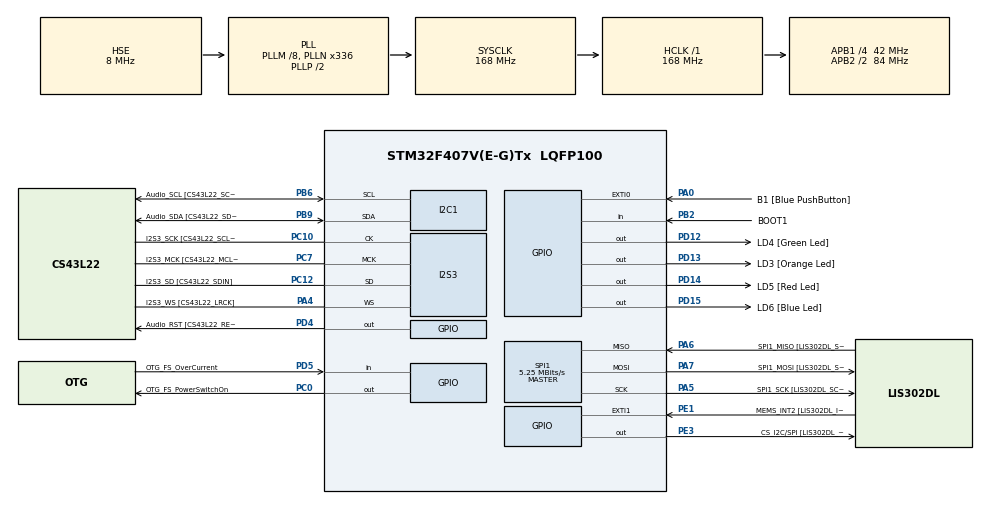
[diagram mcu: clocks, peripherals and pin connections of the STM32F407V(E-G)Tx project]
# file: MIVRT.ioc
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I2S3.AudioFreq-Half_Duplex_Master=I2S_AUDIOFREQ_96K
I2S3.ErrorAudioFreq=-2.34 %
I2S3.ErrorAudioFreq-Half_Duplex_Master=0.8 %
I2S3.FullDuplexMode=I2S_FULLDUPLEXMODE_DISABLE
I2S3.Instance=SPI$Index
I2S3.RealAudioFreq=93.75 KHz
I2S3.RealAudioFreq-Half_Duplex_Master=96.774 KHz
I2S3.VirtualMode=I2S_MODE_MASTER
Mcu.Family=STM32F4
Mcu.Name=STM32F407V(E-G)Tx
Mcu.Package=LQFP100
NVIC.PriorityGroup=NVIC_PRIORITYGROUP_0
PA0-WKUP.GPIO_Label=B1 [Blue PushButton]
PA0-WKUP.GPIO_ModeDefaultEXTI=GPIO_MODE_EVT_RISING
PA0-WKUP.GPIO_PuPd=GPIO_NOPULL
PA0-WKUP.Signal=GPXTI0
PA10.GPIO_Label=OTG_FS_ID
PA10.GPIO_Mode=GPIO_MODE_AF_PP
PA10.GPIO_PuPd=GPIO_NOPULL
PA10.GPIO_Speed=GPIO_SPEED_FREQ_LOW
PA10.Signal=USB_OTG_FS_ID
PA11.GPIO_Label=OTG_FS_DM
PA11.GPIO_Mode=GPIO_MODE_AF_PP
PA11.GPIO_PuPd=GPIO_NOPULL
PA11.GPIO_Speed=GPIO_SPEED_FREQ_LOW
PA11.Signal=USB_OTG_FS_DM
PA12.GPIO_Label=OTG_FS_DP
PA12.GPIO_Mode=GPIO_MODE_AF_PP
PA12.GPIO_PuPd=GPIO_NOPULL
PA12.GPIO_Speed=GPIO_SPEED_FREQ_LOW
PA12.Signal=USB_OTG_FS_DP
PA13.GPIO_Label=SWDIO
PA13.Mode=Serial_Wire
PA13.Signal=SYS_JTMS-SWDIO
PA14.GPIO_Label=SWCLK
PA14.Mode=Serial_Wire
PA14.Signal=SYS_JTCK-SWCLK
PA4.GPIO_Label=I2S3_WS [CS43L22_LRCK]
PA4.GPIO_Mode=GPIO_MODE_AF_PP
PA4.GPIO_PuPd=GPIO_NOPULL
PA4.GPIO_Speed=GPIO_SPEED_FREQ_LOW
PA4.Mode=Half_Duplex_Master
PA4.Signal=I2S3_WS
PA5.GPIO_Label=SPI1_SCK [LIS302DL_SCL/SPC]
PA5.GPIO_Mode=GPIO_MODE_AF_PP
PA5.GPIO_PuPd=GPIO_NOPULL
PA5.GPIO_Speed=GPIO_SPEED_FREQ_LOW
PA5.Mode=Full_Duplex_Master
PA5.Signal=SPI1_SCK
PA6.GPIO_Label=SPI1_MISO [LIS302DL_SDO]
PA6.GPIO_Mode=GPIO_MODE_AF_PP
PA6.GPIO_PuPd=GPIO_NOPULL
PA6.GPIO_Speed=GPIO_SPEED_FREQ_LOW
PA6.Mode=Full_Duplex_Master
PA6.Signal=SPI1_MISO
PA7.GPIO_Label=SPI1_MOSI [LIS302DL_SDA/SDI/SDO]
PA7.GPIO_Mode=GPIO_MODE_AF_PP
PA7.GPIO_PuPd=GPIO_NOPULL
PA7.GPIO_Speed=GPIO_SPEED_FREQ_LOW
PA7.Mode=Full_Duplex_Master
PA7.Signal=SPI1_MOSI
PA9.GPIO_Label=VBUS_FS
PA9.GPIO_Mode=GPIO_MODE_INPUT
PA9.GPIO_PuPd=GPIO_NOPULL
PA9.Signal=USB_OTG_FS_VBUS
PB10.GPIO_Label=CLK_IN [MP45DT02_CLK]
PB10.GPIO_Mode=GPIO_MODE_AF_PP
PB10.GPIO_PuPd=GPIO_NOPULL
PB10.GPIO_Speed=GPIO_SPEED_FREQ_LOW
PB10.Signal=I2S2_CK
PB2.GPIO_Label=BOOT1
PB2.GPIO_Mode=GPIO_MODE_INPUT
PB2.GPIO_PuPd=GPIO_NOPULL
PB2.Signal=GPIO_Input
PB3.GPIO_Label=SWO
PB3.Signal=SYS_JTDO-SWO
PB6.GPIO_Label=Audio_SCL [CS43L22_SCL]
PB6.GPIO_Mode=GPIO_MODE_AF_OD
PB6.GPIO_Pu=GPIO_PULLUP
PB6.GPIO_PuPd=GPIO_NOPULL
PB6.GPIO_Speed=GPIO_SPEED_FREQ_LOW
PB6.Mode=I2C
PB6.Signal=I2C1_SCL
PB9.GPIO_Label=Audio_SDA [CS43L22_SDA]
PB9.GPIO_Mode=GPIO_MODE_AF_OD
PB9.GPIO_Pu=GPIO_PULLUP
PB9.GPIO_PuPd=GPIO_NOPULL
PB9.GPIO_Speed=GPIO_SPEED_FREQ_LOW
PB9.Mode=I2C
PB9.Signal=I2C1_SDA
PC0.GPIO_Label=OTG_FS_PowerSwitchOn
PC0.GPIO_PuPd=GPIO_NOPULL
PC0.GPIO_Speed=GPIO_SPEED_FREQ_LOW
PC0.PinState=GPIO_PIN_SET
PC0.Signal=GPIO_Output
PC10.GPIO_Label=I2S3_SCK [CS43L22_SCLK]
PC10.GPIO_Mode=GPIO_MODE_AF_PP
PC10.GPIO_PuPd=GPIO_NOPULL
PC10.GPIO_Speed=GPIO_SPEED_FREQ_LOW
PC10.Mode=Half_Duplex_Master
PC10.Signal=I2S3_CK
PC12.GPIO_Label=I2S3_SD [CS43L22_SDIN]
PC12.GPIO_Mode=GPIO_MODE_AF_PP
PC12.GPIO_PuPd=GPIO_NOPULL
PC12.GPIO_Speed=GPIO_SPEED_FREQ_LOW
PC12.Mode=Half_Duplex_Master
PC12.Signal=I2S3_SD
PC14-OSC32_IN.GPIO_Label=PC14-OSC32_IN
PC14-OSC32_IN.Mode=LSE-External-Oscillator
PC14-OSC32_IN.Signal=RCC_OSC32_IN
PC15-OSC32_OUT.GPIO_Label=PC15-OSC32_OUT
PC15-OSC32_OUT.Mode=LSE-External-Oscillator
PC15-OSC32_OUT.Signal=RCC_OSC32_OUT
PC3.GPIO_Label=PDM_OUT [MP45DT02_DOUT]
PC3.GPIO_Mode=GPIO_MODE_AF_PP
PC3.GPIO_PuPd=GPIO_NOPULL
PC3.GPIO_Speed=GPIO_SPEED_FREQ_LOW
PC3.Signal=I2S2_SD
PC7.GPIO_Label=I2S3_MCK [CS43L22_MCLK]
PC7.GPIO_Mode=GPIO_MODE_AF_PP
PC7.GPIO_PuPd=GPIO_NOPULL
PC7.GPIO_Speed=GPIO_SPEED_FREQ_LOW
PC7.Mode=Master_Clock_Activated
PC7.Signal=I2S3_MCK
PD12.GPIO_Label=LD4 [Green Led]
PD12.GPIO_PuPd=GPIO_NOPULL
PD12.GPIO_Speed=GPIO_SPEED_FREQ_LOW
PD12.Signal=GPIO_Output
PD13.GPIO_Label=LD3 [Orange Led]
PD13.GPIO_PuPd=GPIO_NOPULL
PD13.GPIO_Speed=GPIO_SPEED_FREQ_LOW
PD13.Signal=GPIO_Output
PD14.GPIO_Label=LD5 [Red Led]
PD14.GPIO_PuPd=GPIO_NOPULL
PD14.GPIO_Speed=GPIO_SPEED_FREQ_LOW
PD14.Signal=GPIO_Output
PD15.GPIO_Label=LD6 [Blue Led]
PD15.GPIO_PuPd=GPIO_NOPULL
PD15.GPIO_Speed=GPIO_SPEED_FREQ_LOW
PD15.Signal=GPIO_Output
PD4.GPIO_Label=Audio_RST [CS43L22_RESET]
PD4.GPIO_PuPd=GPIO_NOPULL
PD4.GPIO_Speed=GPIO_SPEED_FREQ_LOW
PD4.Signal=GPIO_Output
PD5.GPIO_Label=OTG_FS_OverCurrent
PD5.GPIO_Mode=GPIO_MODE_INPUT
PD5.GPIO_PuPd=GPIO_NOPULL
PD5.Signal=GPIO_Input
PE1.GPIO_Label=MEMS_INT2 [LIS302DL_INT2]
PE1.GPIO_ModeDefaultEXTI=GPIO_MODE_EVT_RISING
PE1.GPIO_PuPd=GPIO_NOPULL
PE1.Signal=GPXTI1
PE3.GPIO_Label=CS_I2C/SPI [LIS302DL_CS_I2C/SPI]
PE3.GPIO_PuPd=GPIO_NOPULL
PE3.GPIO_Speed=GPIO_SPEED_FREQ_LOW
PE3.PinState=GPIO_PIN_SET
PE3.Signal=GPIO_Output
PH0-OSC_IN.GPIO_Label=PH0-OSC_IN
PH0-OSC_IN.Mode=HSE-External-Oscillator
PH0-OSC_IN.Signal=RCC_OSC_IN
PH1-OSC_OUT.GPIO_Label=PH1-OSC_OUT
PH1-OSC_OUT.Mode=HSE-External-Oscillator
PH1-OSC_OUT.Signal=RCC_OSC_OUT
ProjectManager.HeapSize=0x200
ProjectManager.StackSize=0x400
ProjectManager.TargetToolchain=STM32CubeIDE
RCC.48MHZClocksFreq_Value=48000000
RCC.AHBFreq_Value=168000000
RCC.APB1CLKDivider=RCC_HCLK_DIV4
RCC.APB1Freq_Value=42000000
RCC.APB1TimFreq_Value=84000000
RCC.APB2CLKDivider=RCC_HCLK_DIV2
RCC.APB2Freq_Value=84000000
RCC.APB2TimFreq_Value=168000000
RCC.CortexFreq_Value=168000000
RCC.HCLKFreq_Value=168000000
RCC.HSE_VALUE=8000000
RCC.HSI_VALUE=16000000
RCC.PLLM=8
RCC.PLLN=336
RCC.PLLQ=7
RCC.PLLSourceVirtual=RCC_PLLSOURCE_HSE
RCC.SYSCLKFreq_VALUE=168000000
RCC.SYSCLKSource=RCC_SYSCLKSOURCE_PLLCLK
RCC.VCOOutputFreq_Value=336000000
SPI1.BaudRatePrescaler=SPI_BAUDRATEPRESCALER_16
SPI1.BaudRatePrescaler-Full_Duplex_Master=SPI_BAUDRATEPRESCALER_2
SPI1.CLKPhase=SPI_PHASE_2EDGE
SPI1.CLKPolarity=SPI_POLARITY_HIGH
SPI1.CalculateBaudRate=5.25 MBits/s
SPI1.CalculateBaudRate-Full_Duplex_Master=42.0 MBits/s
SPI1.Direction=SPI_DIRECTION_2LINES
SPI1.Mode=SPI_MODE_MASTER
SPI1.Mode-Full_Duplex_Master=SPI_MODE_MASTER
SPI1.VirtualType=VM_MASTER
board=STM32F407G-DISC1

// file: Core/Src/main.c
/* USER CODE BEGIN Header */
/**
  ******************************************************************************
  * @file           : main.c
  * @brief          : Main program body
  ******************************************************************************
  * @attention
  *
  * Copyright (c) 2026 STMicroelectronics.
  * All rights reserved.
  *
  * This software is licensed under terms that can be found in the LICENSE file
  * in the root directory of this software component.
  * If no LICENSE file comes with this software, it is provided AS-IS.
  *
  ******************************************************************************
  */
/* USER CODE END Header */
#include "main.h"

/* USER CODE BEGIN PD */
#define LIS_READ 0x80
#define WHOAMI_REG 0x0F
#define WHOAMI_VAL 0x3F
#define LIS_READ    0x80
#define WHOAMI_REG  0x0F
#define CTRL_REG4   0x20
#define CTRL_REG5   0x24
#define CTRL_REG6   0x25
#define OUT_X_L     0x28

#define MARCO_MS     10
#define N_MARCOS     10
#define ACTIVIDAD_LARGA  1
/* USER CODE END PD */

I2C_HandleTypeDef hi2c1;

I2S_HandleTypeDef hi2s3;

SPI_HandleTypeDef hspi1;

/* USER CODE BEGIN PV */
volatile uint8_t who = 0;
volatile uint8_t r4 = 0;
volatile uint8_t r5 = 0;
volatile uint8_t r6 = 0;
volatile uint8_t init_err = 1;
volatile uint8_t raw[6];
volatile int16_t ax, ay, az;

volatile uint32_t overruns = 0;           // veces que un tic llegó tarde
volatile float ax_mg, ay_mg, az_mg;       // ejes en mg
volatile uint32_t periodo_us;             // tiempo real entre dos tics (
volatile uint32_t periodo_max_us = 0;     // el más largo
volatile uint32_t periodo_min_us = 999999;// el más corto
volatile uint32_t C_sensor_us;            // lo que tarda leer el sensor
volatile uint32_t C_conv_us;              // lo que tarda convertir a mg
volatile uint32_t C_led_us;               // lo que tarda el LED
/* USER CODE END PV */

void SystemClock_Config(void);
static void MX_GPIO_Init(void);
static void MX_I2C1_Init(void);
static void MX_I2S3_Init(void);
static void MX_SPI1_Init(void);

/* USER CODE BEGIN 0 */
static void cs_low(void)  { HAL_GPIO_WritePin(GPIOE, GPIO_PIN_3, GPIO_PIN_RESET); }
static void cs_high(void) { HAL_GPIO_WritePin(GPIOE, GPIO_PIN_3, GPIO_PIN_SET); }

// Lee 'n' (<= 6) registros consecutivos a partir de 'reg'.
void lis_read(uint8_t reg, uint8_t *buf, uint16_t n)
{
    uint8_t tx[7] = {0}, rx[7];
    tx[0] = LIS_READ | reg;                     // dirección + bit de lectura

    cs_low();
    HAL_SPI_TransmitReceive(&hspi1, tx, rx, n + 1, HAL_MAX_DELAY);  // una transacción de n+1 bytes
    cs_high();

    for (uint16_t i = 0; i < n; i++)
        buf[i] = rx[i + 1];
}

void lis_write(uint8_t reg, uint8_t val)
{
    uint8_t tx[2];
    tx[0] = reg & 0x7F;                         // dirección con bit 7 = 0 (escritura)
    tx[1] = val;                                // valor a escribir

    cs_low();
    HAL_SPI_Transmit(&hspi1, tx, 2, HAL_MAX_DELAY);  // solo envío
    cs_high();
}

// Devuelve 0 si el sensor responde y queda configurado; 1 si no.
uint8_t lis_init(void)
{
    uint8_t id;
    lis_read(WHOAMI_REG, &id, 1);               // prueba de vida
    if (id != WHOAMI_VAL) return 1;

    lis_write(CTRL_REG4, 0x6F);
    lis_write(CTRL_REG5, 0xC0);
    lis_write(CTRL_REG6, 0x10);
}

/*//////////PARTE B/////////*/

static void leer_sensor(void)     // cada 10 ms
{
    lis_read(OUT_X_L, (uint8_t*)raw, 6);
    ax = (int16_t)((raw[1] << 8) | raw[0]);
    ay = (int16_t)((raw[3] << 8) | raw[2]);
    az = (int16_t)((raw[5] << 8) | raw[4]);
}

static void convertir_mg(void)    // cada 20 ms
{
    ax_mg = ax * 0.06f;          //f para que l multiplicación se haga con 32 bits (en vez de double)
    ay_mg = ay * 0.06f;
    az_mg = az * 0.06f;
}

static void latido(void)          // cada 50 ms
{
    HAL_GPIO_TogglePin(GPIOD, GPIO_PIN_12);   // LED verde
}

static void actividad_larga(void)     // tarea de 15 ms, CPU para sin hacer nada
{
    uint32_t t0 = HAL_GetTick();
    while (HAL_GetTick() - t0 < 15) { }
}

/* USER CODE END 0 */

int main(void)
{

  /* MCU Configuration--------------------------------------------------------*/

  /* Reset of all peripherals, Initializes the Flash interface and the Systick. */
  HAL_Init();

  /* Configure the system clock */
  SystemClock_Config();

  /* Initialize all configured peripherals */
  MX_GPIO_Init();
  MX_I2C1_Init();
  MX_I2S3_Init();
  MX_SPI1_Init();
  /* USER CODE BEGIN 2 */

  __HAL_SPI_ENABLE(&hspi1);
  HAL_Delay(10);
  cs_high();                                    // CS en reposo
  init_err = lis_init();
  lis_read(WHOAMI_REG, (uint8_t*)&who, 1);      // debe dar 0x3F
  lis_read(CTRL_REG4,  (uint8_t*)&r4, 1);       // debe dar 0x6F
  lis_read(CTRL_REG5,  (uint8_t*)&r5, 1);       // debe dar 0xC0
  lis_read(CTRL_REG6,  (uint8_t*)&r6, 1);       // debe dar 0x10

  ////////PARTE B///////

  // Encender el cronómetro DWT (cuenta 168 por cada µs)
  CoreDebug->DEMCR |= CoreDebug_DEMCR_TRCENA_Msk;
  DWT->CYCCNT = 0;
  DWT->CTRL |= DWT_CTRL_CYCCNTENA_Msk;

  uint32_t t_marco = HAL_GetTick();   // cuándo toca el próximo tic (ms)
  uint32_t k = 0;                     // en qué tic estamos (0..9)
  uint32_t t_ant = 0;                 // cuándo empezó el tic anterior
  uint8_t primero = 1;                // el primer tic no tiene "anterior"

  /* USER CODE END 2 */

  /* Infinite loop */
  while (1)
  {

	    /* USER CODE BEGIN 3 */

	    // 1) Esperar a que llegue el tic
	    while ((int32_t)(HAL_GetTick() - t_marco) < 0) { }

	    // 2) Medir cuánto ha pasado desde el tic anterior
	    uint32_t ahora = DWT->CYCCNT;
	    if (!primero) {                          // si no es el primer tic
	        periodo_us = (ahora - t_ant) / 168; //tiempo real entre dos tics (deberia ser 10ms)
	        if (periodo_us > periodo_max_us) periodo_max_us = periodo_us;
	        if (periodo_us < periodo_min_us) periodo_min_us = periodo_us;
	    }
	    t_ant = ahora;
	    primero = 0;

	    uint32_t t0 = DWT->CYCCNT;
	    leer_sensor();                                   // todos los marcos (cada 10ms)
	    C_sensor_us = (DWT->CYCCNT - t0) / 168;

	    //convertir a mg
	    if (k % 2 == 0) {                                // marcos pares (cada 20ms)
	        t0 = DWT->CYCCNT;
	        convertir_mg();
	        C_conv_us = (DWT->CYCCNT - t0) / 168;
	    }

	    //led verde
	    if (k % 5 == 0) {                                // marcos 0 y 5 (cada 50ms)
	        t0 = DWT->CYCCNT;
	        latido();
	        C_led_us = (DWT->CYCCNT - t0) / 168;
	    }

	#if ACTIVIDAD_LARGA
	    if (k == 3) actividad_larga();                       // 15 ms en el marco 3
	#endif

	    t_marco = t_marco + MARCO_MS;
	    if ((int32_t)(HAL_GetTick() - t_marco) > 0) overruns++;  // overruns
	    k = (k + 1) % N_MARCOS;
	  /* USER CODE END 3 */
}

void SystemClock_Config(void)
{
  RCC_OscInitTypeDef RCC_OscInitStruct = {0};
  RCC_ClkInitTypeDef RCC_ClkInitStruct = {0};

  /** Configure the main internal regulator output voltage
  */
  __HAL_RCC_PWR_CLK_ENABLE();
  __HAL_PWR_VOLTAGESCALING_CONFIG(PWR_REGULATOR_VOLTAGE_SCALE1);

  /** Initializes the RCC Oscillators according to the specified parameters
  * in the RCC_OscInitTypeDef structure.
  */
  RCC_OscInitStruct.OscillatorType = RCC_OSCILLATORTYPE_HSE;
  RCC_OscInitStruct.HSEState = RCC_HSE_ON;
  RCC_OscInitStruct.PLL.PLLState = RCC_PLL_ON;
  RCC_OscInitStruct.PLL.PLLSource = RCC_PLLSOURCE_HSE;
  RCC_OscInitStruct.PLL.PLLM = 8;
  RCC_OscInitStruct.PLL.PLLN = 336;
  RCC_OscInitStruct.PLL.PLLP = RCC_PLLP_DIV2;
  RCC_OscInitStruct.PLL.PLLQ = 7;
  if (HAL_RCC_OscConfig(&RCC_OscInitStruct) != HAL_OK)
  {
    Error_Handler();
  }

  /** Initializes the CPU, AHB and APB buses clocks
  */
  RCC_ClkInitStruct.ClockType = RCC_CLOCKTYPE_HCLK|RCC_CLOCKTYPE_SYSCLK
                              |RCC_CLOCKTYPE_PCLK1|RCC_CLOCKTYPE_PCLK2;
  RCC_ClkInitStruct.SYSCLKSource = RCC_SYSCLKSOURCE_PLLCLK;
  RCC_ClkInitStruct.AHBCLKDivider = RCC_SYSCLK_DIV1;
  RCC_ClkInitStruct.APB1CLKDivider = RCC_HCLK_DIV4;
  RCC_ClkInitStruct.APB2CLKDivider = RCC_HCLK_DIV2;

  if (HAL_RCC_ClockConfig(&RCC_ClkInitStruct, FLASH_LATENCY_5) != HAL_OK)
  {
    Error_Handler();
  }
}

static void MX_I2C1_Init(void)
{

  hi2c1.Instance = I2C1;
  hi2c1.Init.ClockSpeed = 100000;
  hi2c1.Init.DutyCycle = I2C_DUTYCYCLE_2;
  hi2c1.Init.OwnAddress1 = 0;
  hi2c1.Init.AddressingMode = I2C_ADDRESSINGMODE_7BIT;
  hi2c1.Init.DualAddressMode = I2C_DUALADDRESS_DISABLE;
  hi2c1.Init.OwnAddress2 = 0;
  hi2c1.Init.GeneralCallMode = I2C_GENERALCALL_DISABLE;
  hi2c1.Init.NoStretchMode = I2C_NOSTRETCH_DISABLE;
  if (HAL_I2C_Init(&hi2c1) != HAL_OK)
  {
    Error_Handler();
  }

}

static void MX_I2S3_Init(void)
{

  hi2s3.Instance = SPI3;
  hi2s3.Init.Mode = I2S_MODE_MASTER_TX;
  hi2s3.Init.Standard = I2S_STANDARD_PHILIPS;
  hi2s3.Init.DataFormat = I2S_DATAFORMAT_16B;
  hi2s3.Init.MCLKOutput = I2S_MCLKOUTPUT_ENABLE;
  hi2s3.Init.AudioFreq = I2S_AUDIOFREQ_96K;
  hi2s3.Init.CPOL = I2S_CPOL_LOW;
  hi2s3.Init.ClockSource = I2S_CLOCK_PLL;
  hi2s3.Init.FullDuplexMode = I2S_FULLDUPLEXMODE_DISABLE;
  if (HAL_I2S_Init(&hi2s3) != HAL_OK)
  {
    Error_Handler();
  }

}

static void MX_SPI1_Init(void)
{

  /* SPI1 parameter configuration*/
  hspi1.Instance = SPI1;
  hspi1.Init.Mode = SPI_MODE_MASTER;
  hspi1.Init.Direction = SPI_DIRECTION_2LINES;
  hspi1.Init.DataSize = SPI_DATASIZE_8BIT;
  hspi1.Init.CLKPolarity = SPI_POLARITY_HIGH;
  hspi1.Init.CLKPhase = SPI_PHASE_2EDGE;
  hspi1.Init.NSS = SPI_NSS_SOFT;
  hspi1.Init.BaudRatePrescaler = SPI_BAUDRATEPRESCALER_16;
  hspi1.Init.FirstBit = SPI_FIRSTBIT_MSB;
  hspi1.Init.TIMode = SPI_TIMODE_DISABLE;
  hspi1.Init.CRCCalculation = SPI_CRCCALCULATION_DISABLE;
  hspi1.Init.CRCPolynomial = 10;
  if (HAL_SPI_Init(&hspi1) != HAL_OK)
  {
    Error_Handler();
  }

}

static void MX_GPIO_Init(void)
{
  GPIO_InitTypeDef GPIO_InitStruct = {0};

  /* GPIO Ports Clock Enable */
  __HAL_RCC_GPIOE_CLK_ENABLE();
  __HAL_RCC_GPIOC_CLK_ENABLE();
  __HAL_RCC_GPIOH_CLK_ENABLE();
  __HAL_RCC_GPIOA_CLK_ENABLE();
  __HAL_RCC_GPIOB_CLK_ENABLE();
  __HAL_RCC_GPIOD_CLK_ENABLE();

  /*Configure GPIO pin Output Level */
  HAL_GPIO_WritePin(CS_I2C_SPI_GPIO_Port, CS_I2C_SPI_Pin, GPIO_PIN_SET);

  /*Configure GPIO pin Output Level */
  HAL_GPIO_WritePin(OTG_FS_PowerSwitchOn_GPIO_Port, OTG_FS_PowerSwitchOn_Pin, GPIO_PIN_SET);

  /*Configure GPIO pin Output Level */
  HAL_GPIO_WritePin(GPIOD, LD4_Pin|LD3_Pin|LD5_Pin|LD6_Pin
                          |Audio_RST_Pin, GPIO_PIN_RESET);

  /*Configure GPIO pin : CS_I2C_SPI_Pin */
  GPIO_InitStruct.Pin = CS_I2C_SPI_Pin;
  GPIO_InitStruct.Mode = GPIO_MODE_OUTPUT_PP;
  GPIO_InitStruct.Pull = GPIO_NOPULL;
  GPIO_InitStruct.Speed = GPIO_SPEED_FREQ_LOW;
  HAL_GPIO_Init(CS_I2C_SPI_GPIO_Port, &GPIO_InitStruct);

  /*Configure GPIO pin : OTG_FS_PowerSwitchOn_Pin */
  GPIO_InitStruct.Pin = OTG_FS_PowerSwitchOn_Pin;
  GPIO_InitStruct.Mode = GPIO_MODE_OUTPUT_PP;
  GPIO_InitStruct.Pull = GPIO_NOPULL;
  GPIO_InitStruct.Speed = GPIO_SPEED_FREQ_LOW;
  HAL_GPIO_Init(OTG_FS_PowerSwitchOn_GPIO_Port, &GPIO_InitStruct);

  /*Configure GPIO pin : PDM_OUT_Pin */
  GPIO_InitStruct.Pin = PDM_OUT_Pin;
  GPIO_InitStruct.Mode = GPIO_MODE_AF_PP;
  GPIO_InitStruct.Pull = GPIO_NOPULL;
  GPIO_InitStruct.Speed = GPIO_SPEED_FREQ_LOW;
  GPIO_InitStruct.Alternate = GPIO_AF5_SPI2;
  HAL_GPIO_Init(PDM_OUT_GPIO_Port, &GPIO_InitStruct);

  /*Configure GPIO pin : B1_Pin */
  GPIO_InitStruct.Pin = B1_Pin;
  GPIO_InitStruct.Mode = GPIO_MODE_EVT_RISING;
  GPIO_InitStruct.Pull = GPIO_NOPULL;
  HAL_GPIO_Init(B1_GPIO_Port, &GPIO_InitStruct);

  /*Configure GPIO pin : BOOT1_Pin */
  GPIO_InitStruct.Pin = BOOT1_Pin;
  GPIO_InitStruct.Mode = GPIO_MODE_INPUT;
  GPIO_InitStruct.Pull = GPIO_NOPULL;
  HAL_GPIO_Init(BOOT1_GPIO_Port, &GPIO_InitStruct);

  /*Configure GPIO pin : CLK_IN_Pin */
  GPIO_InitStruct.Pin = CLK_IN_Pin;
  GPIO_InitStruct.Mode = GPIO_MODE_AF_PP;
  GPIO_InitStruct.Pull = GPIO_NOPULL;
  GPIO_InitStruct.Speed = GPIO_SPEED_FREQ_LOW;
  GPIO_InitStruct.Alternate = GPIO_AF5_SPI2;
  HAL_GPIO_Init(CLK_IN_GPIO_Port, &GPIO_InitStruct);

  /*Configure GPIO pins : LD4_Pin LD3_Pin LD5_Pin LD6_Pin
                           Audio_RST_Pin */
  GPIO_InitStruct.Pin = LD4_Pin|LD3_Pin|LD5_Pin|LD6_Pin
                          |Audio_RST_Pin;
  GPIO_InitStruct.Mode = GPIO_MODE_OUTPUT_PP;
  GPIO_InitStruct.Pull = GPIO_NOPULL;
  GPIO_InitStruct.Speed = GPIO_SPEED_FREQ_LOW;
  HAL_GPIO_Init(GPIOD, &GPIO_InitStruct);

  /*Configure GPIO pin : VBUS_FS_Pin */
  GPIO_InitStruct.Pin = VBUS_FS_Pin;
  GPIO_InitStruct.Mode = GPIO_MODE_INPUT;
  GPIO_InitStruct.Pull = GPIO_NOPULL;
  HAL_GPIO_Init(VBUS_FS_GPIO_Port, &GPIO_InitStruct);

  /*Configure GPIO pins : OTG_FS_ID_Pin OTG_FS_DM_Pin OTG_FS_DP_Pin */
  GPIO_InitStruct.Pin = OTG_FS_ID_Pin|OTG_FS_DM_Pin|OTG_FS_DP_Pin;
  GPIO_InitStruct.Mode = GPIO_MODE_AF_PP;
  GPIO_InitStruct.Pull = GPIO_NOPULL;
  GPIO_InitStruct.Speed = GPIO_SPEED_FREQ_LOW;
  GPIO_InitStruct.Alternate = GPIO_AF10_OTG_FS;
  HAL_GPIO_Init(GPIOA, &GPIO_InitStruct);

  /*Configure GPIO pin : OTG_FS_OverCurrent_Pin */
  GPIO_InitStruct.Pin = OTG_FS_OverCurrent_Pin;
  GPIO_InitStruct.Mode = GPIO_MODE_INPUT;
  GPIO_InitStruct.Pull = GPIO_NOPULL;
  HAL_GPIO_Init(OTG_FS_OverCurrent_GPIO_Port, &GPIO_InitStruct);

  /*Configure GPIO pin : MEMS_INT2_Pin */
  GPIO_InitStruct.Pin = MEMS_INT2_Pin;
  GPIO_InitStruct.Mode = GPIO_MODE_EVT_RISING;
  GPIO_InitStruct.Pull = GPIO_NOPULL;
  HAL_GPIO_Init(MEMS_INT2_GPIO_Port, &GPIO_InitStruct);

}

void Error_Handler(void)
{
  __disable_irq();
  while (1)
  {
  }
}
